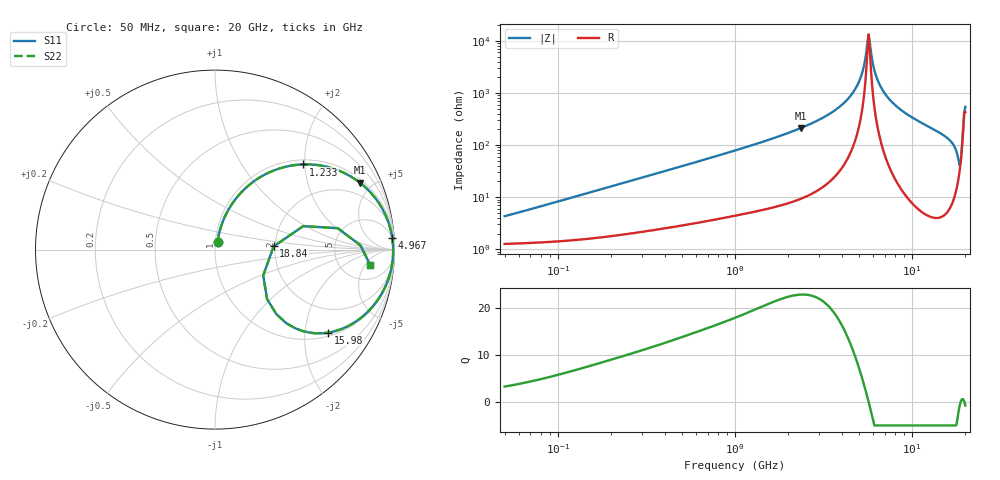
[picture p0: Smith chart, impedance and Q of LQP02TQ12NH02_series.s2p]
!Murata Part Number: LQP02TQ12NH02
!These Parameters are Measured in Series Mode Connection
!  o--[Z]--o
!Port1  Port2
!  o-------o
!Freq. Start=50[MHz] Stop=20[GHz], 401[Steps]
# Hz S RI R 50
!Freq.(Hz) S11(Real) S11(Imag) S21(Real) S21(Imag) S12(Real) S12(Imag) S22(Real) S22(Imag)
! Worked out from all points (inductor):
!   401 points, 50 MHz to 20 GHz, reference 50 ohm
!   read as one part in series: L = 13 nH near 51.52 MHz
!   highest Q = 22.8 at 2.349 GHz (marker M1), where L = 14.3 nH
!   self-resonance near 5.683 GHz
!   S11 on the Smith chart (normalised r, x): 50 MHz: 1.03, +0.08; 1.233 GHz: 1.10, +1.96; 4.967 GHz: 5, +30; 15.98 GHz: 1.11, -2.65; 18.84 GHz: 1.97, +0.08; 20 GHz: 10, -7
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5e7  0.0141 0.04  0.9859 -0.04  0.9859 -0.04  0.0141 0.04
1.364002e8  0.0266 0.1056  0.9734 -0.1056  0.9734 -0.1056  0.0266 0.1056
3.721004e8  0.0974 0.2581  0.9026 -0.2581  0.9026 -0.2581  0.0974 0.2581
1e9  0.388 0.4601  0.612 -0.4601  0.612 -0.4601  0.388 0.4601
1.23331e9  0.4904 0.4746  0.5096 -0.4746  0.5096 -0.4746  0.4904 0.4746
2.348516e9  0.8068 0.3735  0.1932 -0.3735  0.1932 -0.3735  0.8068 0.3735
2.728004e9  0.8638 0.3215  0.1362 -0.3215  0.1362 -0.3215  0.8638 0.3215
3.967106e9  0.961 0.1659  0.039 -0.1659  0.039 -0.1659  0.961 0.1659
4.966507e9  0.9876 0.0632  0.0124 -0.0632  0.0124 -0.0632  0.9876 0.0632
5.273168e9  0.9908 0.0352  0.00916 -0.0352  0.00916 -0.0352  0.9908 0.0352
5.515528e9  0.9922 0.0142  0.00783 -0.0142  0.00783 -0.0142  0.9922 0.0142
5.683258e9  0.9925 5.63e-05  0.00747 -5.63e-05  0.00747 -5.63e-05  0.9925 5.63e-05
5.769027e9  0.9926 -0.00701  0.00744 0.00701  0.00744 0.00701  0.9926 -0.00701
6.406762e9  0.9898 -0.0567  0.0102 0.0567  0.0102 0.0567  0.9898 -0.0567
7.442007e9  0.9767 -0.128  0.0233 0.128  0.0233 0.128  0.9767 -0.128
1.183995e10  0.8525 -0.3451  0.1475 0.3451  0.1475 0.3451  0.8525 -0.3451
1.597544e10  0.6319 -0.4623  0.3681 0.4623  0.3681 0.4623  0.6319 -0.4623
1.774144e10  0.3974 -0.4101  0.6026 0.4101  0.6026 0.4101  0.3974 -0.4101
1.828096e10  0.2904 -0.2757  0.7096 0.2757  0.7096 0.2757  0.2904 -0.2757
1.88369e10  0.3271 0.0182  0.6729 -0.0182  0.6729 -0.0182  0.3271 0.0182
1.940974e10  0.6841 0.1193  0.3159 -0.1193  0.3159 -0.1193  0.6841 0.1193
2e10  0.8638 -0.084  0.1362 0.084  0.1362 0.084  0.8638 -0.084
